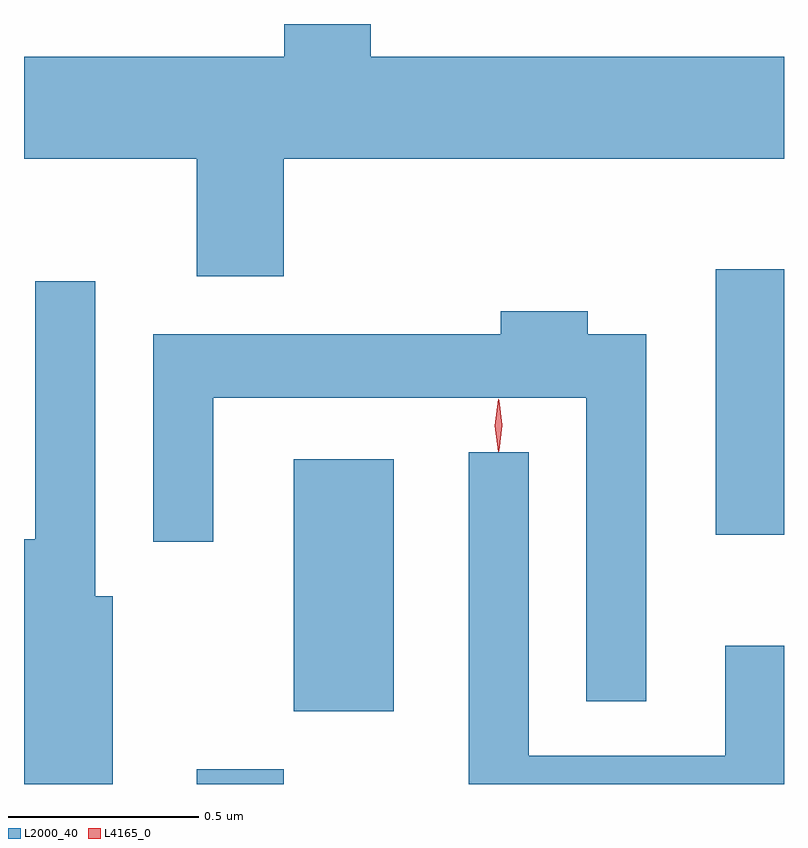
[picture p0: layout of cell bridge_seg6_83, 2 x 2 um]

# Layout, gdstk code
import gdstk
lib = gdstk.Library(unit=1e-6, precision=1e-09)
def R(c, l, rs):  # rectangles x0, y0, x1, y1
    for r in rs: c.add(gdstk.rectangle(r[:2], r[2:], *l))
def P(c, l, *ps):  # polygons
    for p in ps: c.add(gdstk.Polygon(p, *l))
L2000_40 = (2000, 40)
L4165_0 = (4165, 0)

bridge_seg6_83 = lib.new_cell('bridge_seg6_83')
R(bridge_seg6_83, L2000_40, [(1283.601,1666.05,1283.829,1666.089), (1283.856,1666.241,1284.119,1666.904), (1284.966,1666.706,1285.146,1667.404)])
P(bridge_seg6_83, L2000_40, [(1283.829,1667.696),(1285.146,1667.696),(1285.146,1667.964),(1284.059,1667.964),(1284.059,1668.05),(1283.831,1668.05),(1283.831,1667.964),(1283.146,1667.964),(1283.146,1667.696),(1283.601,1667.696),(1283.601,1667.386),(1283.829,1667.386)],
  [(1283.379,1666.544),(1283.334,1666.544),(1283.334,1667.373),(1283.176,1667.373),(1283.176,1666.694),(1283.146,1666.694),(1283.146,1666.05),(1283.379,1666.05)],
  [(1284.784,1667.234),(1284.629,1667.234),(1284.629,1667.294),(1284.401,1667.294),(1284.401,1667.234),(1283.486,1667.234),(1283.486,1666.688),(1283.644,1666.688),(1283.644,1667.066),(1284.626,1667.066),(1284.626,1666.268),(1284.784,1666.268)],
  [(1285.146,1666.414),(1284.991,1666.414),(1284.991,1666.124),(1284.474,1666.124),(1284.474,1666.923),(1284.316,1666.923),(1284.316,1666.05),(1285.146,1666.05)])
P(bridge_seg6_83, L4165_0, [(1284.394,1666.924),(1284.385,1666.993),(1284.394,1667.062),(1284.395,1667.063),(1284.395,1667.062),(1284.405,1666.993),(1284.395,1666.924),(1284.395,1666.924)],
  [(1284.395,1666.927),(1284.395,1666.927),(1284.386,1666.994),(1284.395,1667.06),(1284.396,1667.06),(1284.396,1667.06),(1284.405,1666.994),(1284.396,1666.927)])

lib.write_gds('bridge_seg6_83.gds')
